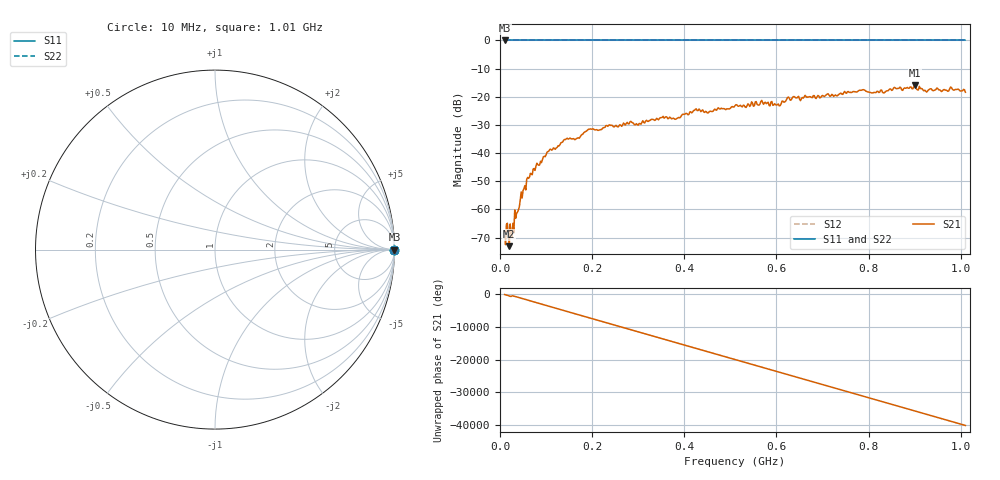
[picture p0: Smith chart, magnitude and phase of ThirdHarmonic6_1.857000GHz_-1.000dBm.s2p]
! 8/16/2025 10:27:52 PM
! C:\ANRITSUVNA\TEMP\TEMP.S2P
! CHANNEL.1
! TR.MEASUREMENT
! RAW.DATA
! RF.CORRECTION.OFF
! AVERAGING.OFF
! IF.BANDWIDTH: 5KHZ
! SWEEPTYPE:  FREQ.SWEEP(Linear)
! Reference Plane Port Info
! PORT:  PORT1  PORT2
! DISTANCE:  0  m  0  m
! TIME:  0  s  0  s
! PHASE.OFFSET:  0  deg.  0  deg.
! LOSS:  0  dB  0  dB
! REF.LOSS:  0  dB  0  dB
! REF.FREQ:  0  Hz  0  Hz
! Power Info
! POWER:  -20  dBm  -20  dBm
! EFF.POWER:  -20  dBm  -20  dBm
! SOURCE.ATTEN:  0  dB  0  dB
! TEST.ATTEN:  0  dB  0  dB
# GHZ S RI R 50.0
! FREQ.GHZ  S11RE  S11IM  S21RE  S21IM  S12RE  S12IM  S22RE  S22IM
!; PortSelection: Port_12
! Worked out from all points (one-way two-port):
!   501 points, 10 MHz to 1.01 GHz, reference 50 ohm
!   highest |S21| = -15.79 dB at 900 MHz (marker M1); lowest = -73.0 dB at 20 MHz (marker M2)
!   lowest |S11| = 0.0 dB at 10 MHz (marker M3)
!   |S11| at or under -10 dB: nowhere
!   |S22| runs from 0.0 to 0.0 dB; largest |S21 - S12| = 1.1
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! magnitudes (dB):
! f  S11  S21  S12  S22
! 10 MHz  0.0  -67.9  0.0  0.0
! 20 MHz  0.0  -73.0  0.0  0.0
! 22 MHz  0.0  -65.1  0.0  0.0
! 26 MHz  0.0  -69.7  0.0  0.0
! 50 MHz  0.0  -53.3  0.0  0.0
! 62 MHz  0.0  -49.0  0.0  0.0
! 76 MHz  0.0  -46.1  0.0  0.0
! 106 MHz  0.0  -39.3  0.0  0.0
! 142 MHz  0.0  -35.2  0.0  0.0
! 178 MHz  0.0  -33.4  0.0  0.0
! 196 MHz  0.0  -31.4  0.0  0.0
! 344 MHz  0.0  -28.2  0.0  0.0
! 382 MHz  0.0  -27.9  0.0  0.0
! 510 MHz  0.0  -23.2  0.0  0.0
! 570 MHz  0.0  -22.1  0.0  0.0
! 604 MHz  0.0  -22.6  0.0  0.0
! 624 MHz  0.0  -20.3  0.0  0.0
! 678 MHz  0.0  -20.3  0.0  0.0
! 844 MHz  0.0  -17.5  0.0  0.0
! 900 MHz  0.0  -15.8  0.0  0.0
! 924 MHz  0.0  -18.0  0.0  0.0
! 1.01 GHz  0.0  -18.4  0.0  0.0
